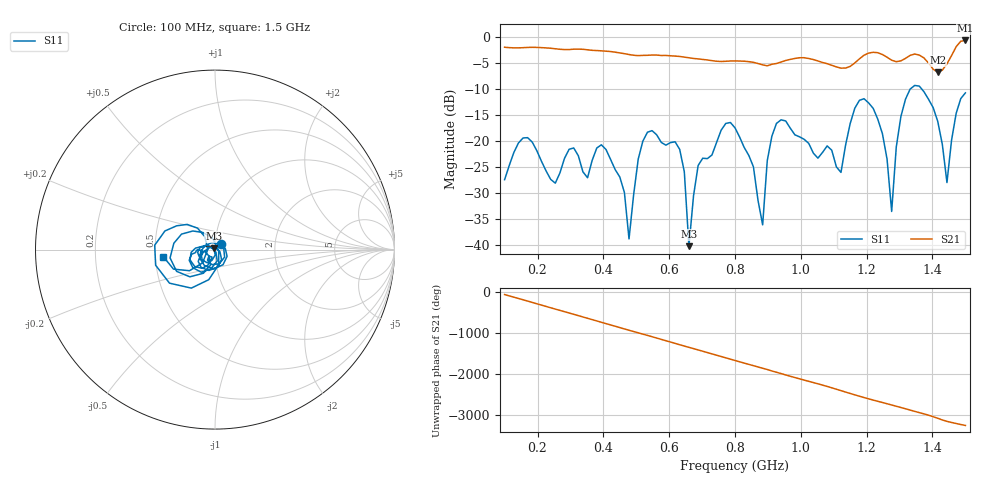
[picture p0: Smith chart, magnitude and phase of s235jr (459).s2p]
! NanoVNA-App
! Date: 2025-09-25 15:07:44
! Start: 100MHz Stop: 1,5GHz Points: 101
! S-Parameter data: F S11 S21 S12 S22
# Hz S RI R 50
!  Frequency  S11_Real  S11_Imag  S21_Real  S21_Imag  S12_Real  S12_Imag  S22_Real  S22_Imag
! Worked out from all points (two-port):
!   101 points, 100 MHz to 1.5 GHz, reference 50 ohm
!   highest |S21| = -0.66 dB at 1.5 GHz (marker M1); lowest = -6.8 dB at 1.416 GHz (marker M2)
!   |S21| within 3 dB of the highest: start of sweep to 616.3 MHz; 1.189 GHz to 1.256 GHz (66.85 MHz wide, 5.47 % of centre) (the widest 2 of 4)
!   lowest |S11| = -40.3 dB at 660 MHz (marker M3), VSWR 1.02, Z = 49.3 + j0.632 ohm
!   |S11| at or under -10 dB: start of sweep to 1.333 GHz; 1.367 GHz to end of sweep
!   S12 and S22 are empty: the file has one direction only
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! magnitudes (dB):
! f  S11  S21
! 100 MHz  -27.5  -2.0
! 156 MHz  -19.4  -2.1
! 338 MHz  -26.0  -2.4
! 408 MHz  -21.7  -2.7
! 478 MHz  -38.9  -3.4
! 520 MHz  -20.1  -3.5
! 576 MHz  -20.3  -3.6
! 632 MHz  -21.6  -3.7
! 660 MHz  -40.3  -4.0
! 688 MHz  -24.7  -4.2
! 800 MHz  -17.5  -4.6
! 884 MHz  -36.2  -5.4
! 926 MHz  -16.6  -5.1
! 1.038 GHz  -22.4  -4.3
! 1.122 GHz  -26.1  -6.0
! 1.192 GHz  -11.9  -3.5
! 1.248 GHz  -18.6  -3.4
! 1.276 GHz  -33.6  -4.5
! 1.332 GHz  -10.0  -3.5
! 1.416 GHz  -16.2  -6.8
! 1.444 GHz  -28.0  -5.2
! 1.5 GHz  -10.8  -0.7
